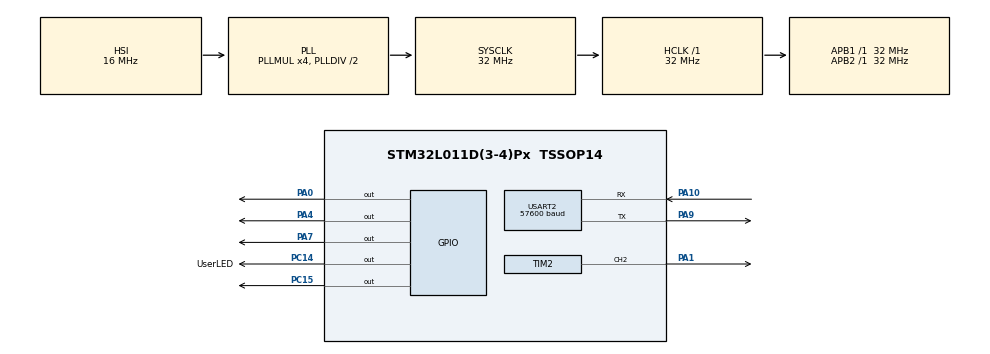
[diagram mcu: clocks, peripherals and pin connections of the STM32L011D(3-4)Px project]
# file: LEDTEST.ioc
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Dma.Request0=TIM2_CH2
Dma.TIM2_CH2.0.Direction=DMA_MEMORY_TO_PERIPH
Dma.TIM2_CH2.0.Instance=DMA1_Channel3
Dma.TIM2_CH2.0.MemDataAlignment=DMA_MDATAALIGN_BYTE
Dma.TIM2_CH2.0.MemInc=DMA_MINC_DISABLE
Dma.TIM2_CH2.0.Mode=DMA_NORMAL
Dma.TIM2_CH2.0.PeriphDataAlignment=DMA_PDATAALIGN_BYTE
Dma.TIM2_CH2.0.PeriphInc=DMA_PINC_DISABLE
Dma.TIM2_CH2.0.Priority=DMA_PRIORITY_HIGH
Mcu.Family=STM32L0
Mcu.Name=STM32L011D(3-4)Px
Mcu.Package=TSSOP14
NVIC.DMA1_Channel2_3_IRQn=true\:0\:0\:false\:false\:true\:true\:true
NVIC.USART2_IRQn=true\:1\:0\:true\:false\:true\:true\:true
PA0-CK_IN.Signal=GPIO_Output
PA1.GPIO_PuPd=GPIO_NOPULL
PA1.GPIO_Speed=GPIO_SPEED_FREQ_VERY_HIGH
PA1.Signal=S_TIM2_CH2
PA10.Mode=Multiprocessor_communication
PA10.Signal=USART2_RX
PA4.Signal=GPIO_Output
PA7.Signal=GPIO_Output
PA9.Mode=Multiprocessor_communication
PA9.Signal=USART2_TX
PC14-OSC32_IN.GPIO_Label=UserLED
PC14-OSC32_IN.GPIO_Speed=GPIO_SPEED_FREQ_MEDIUM
PC14-OSC32_IN.Signal=GPIO_Output
PC15-OSC32_OUT.Signal=GPIO_Output
ProjectManager.HeapSize=0x200
ProjectManager.StackSize=0x400
ProjectManager.TargetToolchain=MDK-ARM V5
RCC.AHBFreq_Value=32000000
RCC.APB1Freq_Value=32000000
RCC.APB1TimFreq_Value=32000000
RCC.APB2Freq_Value=32000000
RCC.APB2TimFreq_Value=32000000
RCC.HCLKFreq_Value=32000000
RCC.HSE_VALUE=8000000
RCC.HSI16_VALUE=16000000
RCC.HSI_VALUE=16000000
RCC.LSE_VALUE=32768
RCC.MSI_VALUE=2097000
RCC.PLLMUL=RCC_PLLMUL_4
RCC.SYSCLKFreq_VALUE=32000000
RCC.SYSCLKSource=RCC_SYSCLKSOURCE_PLLCLK
RCC.VCOOutputFreq_Value=64000000
SH.S_TIM2_CH2.0=TIM2_CH2,PWM Generation2 CH2
TIM2.Channel-PWM\ Generation2\ CH2=TIM_CHANNEL_2
TIM2.OCFastMode_PWM-PWM\ Generation2\ CH2=TIM_OCFAST_ENABLE
TIM2.Period=39
TIM2.Prescaler=0
TIM2.Pulse-PWM\ Generation2\ CH2=0
TIM2.TIM_MasterOutputTrigger=TIM_TRGO_UPDATE
USART2.BaudRate=57600
USART2.VirtualMode-Multiprocessor_communication=VM_ASYNC
USART2.WordLength=UART_WORDLENGTH_8B
board=LEDTEST

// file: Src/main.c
/**
  ******************************************************************************
  * File Name          : main.c
  * Description        : Main program body
  ******************************************************************************
  *
  * COPYRIGHT(c) 2016 STMicroelectronics
  *
  * Redistribution and use in source and binary forms, with or without modification,
  * are permitted provided that the following conditions are met:
  *   1. Redistributions of source code must retain the above copyright notice,
  *      this list of conditions and the following disclaimer.
  *   2. Redistributions in binary form must reproduce the above copyright notice,
  *      this list of conditions and the following disclaimer in the documentation
  *      and/or other materials provided with the distribution.
  *   3. Neither the name of STMicroelectronics nor the names of its contributors
  *      may be used to endorse or promote products derived from this software
  *      without specific prior written permission.
  *
  * THIS SOFTWARE IS PROVIDED BY THE COPYRIGHT HOLDERS AND CONTRIBUTORS "AS IS"
  * AND ANY EXPRESS OR IMPLIED WARRANTIES, INCLUDING, BUT NOT LIMITED TO, THE
  * IMPLIED WARRANTIES OF MERCHANTABILITY AND FITNESS FOR A PARTICULAR PURPOSE ARE
  * DISCLAIMED. IN NO EVENT SHALL THE COPYRIGHT HOLDER OR CONTRIBUTORS BE LIABLE
  * FOR ANY DIRECT, INDIRECT, INCIDENTAL, SPECIAL, EXEMPLARY, OR CONSEQUENTIAL
  * DAMAGES (INCLUDING, BUT NOT LIMITED TO, PROCUREMENT OF SUBSTITUTE GOODS OR
  * SERVICES; LOSS OF USE, DATA, OR PROFITS; OR BUSINESS INTERRUPTION) HOWEVER
  * CAUSED AND ON ANY THEORY OF LIABILITY, WHETHER IN CONTRACT, STRICT LIABILITY,
  * OR TORT (INCLUDING NEGLIGENCE OR OTHERWISE) ARISING IN ANY WAY OUT OF THE USE
  * OF THIS SOFTWARE, EVEN IF ADVISED OF THE POSSIBILITY OF SUCH DAMAGE.
  *
  ******************************************************************************
  */
#include "stm32l0xx_hal.h"

/* USER CODE BEGIN Includes */

char RxData[11]={'0'};
uint8_t MyColor[3]={0};

#define UserLED_Toggle()	 HAL_GPIO_TogglePin(UserLED_GPIO_Port,UserLED_Pin)
#define UserLED_ON()  		 HAL_GPIO_WritePin(UserLED_GPIO_Port,UserLED_Pin,GPIO_PIN_SET)
#define UserLED_OFF() 		 HAL_GPIO_WritePin(UserLED_GPIO_Port,UserLED_Pin,GPIO_PIN_RESET)

/* USER CODE END Includes */

TIM_HandleTypeDef htim2;
DMA_HandleTypeDef hdma_tim2_ch2;

UART_HandleTypeDef huart2;

/* USER CODE BEGIN PV */
/* Private variables ---------------------------------------------------------*/
TIM_OC_InitTypeDef mysConfigOC;
/* USER CODE END PV */

void SystemClock_Config(void);
void Error_Handler(void);
static void MX_GPIO_Init(void);
static void MX_DMA_Init(void);
static void MX_USART2_UART_Init(void);
static void MX_TIM2_Init(void);

void HAL_TIM_MspPostInit(TIM_HandleTypeDef *htim);

/* USER CODE BEGIN PFP */
/* Private function prototypes -----------------------------------------------*/
#ifdef __GNUC__
/* With GCC/RAISONANCE, small printf (option LD Linker->Libraries->Small printf
   set to 'Yes') calls __io_putchar() */
#define PUTCHAR_PROTOTYPE int __io_putchar(int ch)
#else
#define PUTCHAR_PROTOTYPE int fputc(int ch, FILE *f)
#endif /* __GNUC__ */
/**
  * @brief  Retargets the C library printf function to the USART.
  * @param  None
  * @retval None
  */
PUTCHAR_PROTOTYPE
{
  /* Place your implementation of fputc here */
  /* e.g. write a character to the USART2 and Loop until the end of transmission */
  HAL_UART_Transmit(&huart2, (uint8_t *)&ch, 1,100);

  return ch;
}
/* USER CODE END PFP */

/* USER CODE BEGIN 0 */

void Din_1(void)
{
	__HAL_TIM_SET_COMPARE(&htim2, TIM_CHANNEL_2, 26);
}
void Din_0(void)
{
	__HAL_TIM_SET_COMPARE(&htim2, TIM_CHANNEL_2, 13);
}

void Send_8bits(uint8_t dat)
{
		uint8_t i;
		Din_0();
		for(i=0;i<8;i++)
		{
			if(dat & 0x80)//1,for "1",H:0.8us,L:0.45us;
			{
				Din_1();
			}
			else 	//0 ,for "0",H:0.4us,L:	0.85us
			{
			 Din_0();
			}
		   dat=dat<<1;
	 }
}
//G--R--B
//MSB first
void Send_2811_24bits(uint8_t GData,uint8_t RData,uint8_t BData)
 {
	Send_8bits(GData);
	Send_8bits(RData);
	Send_8bits(BData);
 }

 void rst()
{
	 __HAL_TIM_SetCompare(&htim2, TIM_CHANNEL_2, 0);
	 //HAL_TIM_PWM_Start(&htim2, TIM_CHANNEL_2);
	 HAL_Delay (1);
}

uint8_t AscillToNum(char mychar)
{
	uint8_t num=0;
	switch(mychar)
	{
		case '0':num=0;break;
		case '1':num=1;break;
		case '2':num=2;break;
		case '3':num=3;break;
		case '4':num=4;break;
		case '5':num=5;break;
		case '6':num=6;break;
		case '7':num=7;break;
		case '8':num=8;break;
		case '9':num=9;break;
	}
	return num;
}

/* USER CODE END 0 */

int main(void)
{

  /* USER CODE BEGIN 1 */
	uint8_t i=0;
  /* USER CODE END 1 */

  /* MCU Configuration----------------------------------------------------------*/

  /* Reset of all peripherals, Initializes the Flash interface and the Systick. */
  HAL_Init();

  /* Configure the system clock */
  SystemClock_Config();

  /* Initialize all configured peripherals */
  MX_GPIO_Init();
  MX_DMA_Init();
  MX_USART2_UART_Init();
  MX_TIM2_Init();

  /* USER CODE BEGIN 2 */
		//HAL_FLASH_Unlock();
	//printf("\n\r UART OK! \n\r");
	HAL_TIM_PWM_Start(&htim2, TIM_CHANNEL_2);
  /* USER CODE END 2 */

  /* Infinite loop */
  while (1)
  {

  /* USER CODE BEGIN 3 */

//		for(i=0;i<11;i++)
//		{
//		 RxData[i]=0;
//		}
//		for(i=0;i<3;i++)
//		{
//		 MyColor[i]=0;
//		}
		//test code
		    UserLED_Toggle();

			  rst();
				for(i=0;i<36;i++)
				{
						Send_2811_24bits(255,0,0);
				}
				HAL_Delay (500);
				rst();
				for(i=0;i<36;i++)
				{
						Send_2811_24bits(0,255,0);
				}
				HAL_Delay (500);
				rst();
				for(i=0;i<36;i++)
				{
						Send_2811_24bits(0,0,255);
				}
				HAL_Delay (500);
		//test code over

//		if(HAL_UART_Receive(&huart2, RxData, 11, 10000)==HAL_OK)
//		{
//			  //printf("\n\r 接收到的数据:%s \n\r",RxData);
//				if(RxData[0]=='A' && RxData[1]=='A')
//				{
////					printf("\n\r begin explain data! \n\r");
////					for(i=0;i<11;i++)
////					{
////						printf("\n\r RxData[%d]=%d \n\r",i,RxData[i]);
////					}
//				  LED_G_Toggle();
//					MyColor[0]=AscillToNum(RxData[2])*100 + AscillToNum(RxData[3])*10 + AscillToNum(RxData[4]);
//					MyColor[1]=AscillToNum(RxData[5])*100 + AscillToNum(RxData[6])*10 + AscillToNum(RxData[7]);
//					MyColor[2]=AscillToNum(RxData[8])*100 + AscillToNum(RxData[9])*10 + AscillToNum(RxData[10]);
////					printf("\n\r RX GRB=%d %d %d \n\r",MyColor[0],MyColor[1],MyColor[2]);
//		      rst();
//				for(i=0;i<36;i++)
//				{
//						Send_2811_24bits(MyColor[0],MyColor[1],MyColor[2]);
//				}

//			 }
//		}
  }
  /* USER CODE END 3 */

}

/** System Clock Configuration
*/
void SystemClock_Config(void)
{

  RCC_OscInitTypeDef RCC_OscInitStruct;
  RCC_ClkInitTypeDef RCC_ClkInitStruct;
  RCC_PeriphCLKInitTypeDef PeriphClkInit;

  __HAL_RCC_PWR_CLK_ENABLE();

  __HAL_PWR_VOLTAGESCALING_CONFIG(PWR_REGULATOR_VOLTAGE_SCALE1);

  RCC_OscInitStruct.OscillatorType = RCC_OSCILLATORTYPE_HSI;
  RCC_OscInitStruct.HSIState = RCC_HSI_ON;
  RCC_OscInitStruct.HSICalibrationValue = 16;
  RCC_OscInitStruct.PLL.PLLState = RCC_PLL_ON;
  RCC_OscInitStruct.PLL.PLLSource = RCC_PLLSOURCE_HSI;
  RCC_OscInitStruct.PLL.PLLMUL = RCC_PLLMUL_4;
  RCC_OscInitStruct.PLL.PLLDIV = RCC_PLLDIV_2;
  if (HAL_RCC_OscConfig(&RCC_OscInitStruct) != HAL_OK)
  {
    Error_Handler();
  }

  RCC_ClkInitStruct.ClockType = RCC_CLOCKTYPE_HCLK|RCC_CLOCKTYPE_SYSCLK
                              |RCC_CLOCKTYPE_PCLK1|RCC_CLOCKTYPE_PCLK2;
  RCC_ClkInitStruct.SYSCLKSource = RCC_SYSCLKSOURCE_PLLCLK;
  RCC_ClkInitStruct.AHBCLKDivider = RCC_SYSCLK_DIV1;
  RCC_ClkInitStruct.APB1CLKDivider = RCC_HCLK_DIV1;
  RCC_ClkInitStruct.APB2CLKDivider = RCC_HCLK_DIV1;
  if (HAL_RCC_ClockConfig(&RCC_ClkInitStruct, FLASH_LATENCY_1) != HAL_OK)
  {
    Error_Handler();
  }

  PeriphClkInit.PeriphClockSelection = RCC_PERIPHCLK_USART2;
  PeriphClkInit.Usart2ClockSelection = RCC_USART2CLKSOURCE_PCLK1;
  if (HAL_RCCEx_PeriphCLKConfig(&PeriphClkInit) != HAL_OK)
  {
    Error_Handler();
  }

  HAL_SYSTICK_Config(HAL_RCC_GetHCLKFreq()/1000);

  HAL_SYSTICK_CLKSourceConfig(SYSTICK_CLKSOURCE_HCLK);

  /* SysTick_IRQn interrupt configuration */
  HAL_NVIC_SetPriority(SysTick_IRQn, 0, 0);
}

/* TIM2 init function */
static void MX_TIM2_Init(void)
{

  TIM_MasterConfigTypeDef sMasterConfig;
  TIM_OC_InitTypeDef sConfigOC;

  htim2.Instance = TIM2;
  htim2.Init.Prescaler = 0;
  htim2.Init.CounterMode = TIM_COUNTERMODE_UP;
  htim2.Init.Period = 41;
  htim2.Init.ClockDivision = TIM_CLOCKDIVISION_DIV1;
  if (HAL_TIM_PWM_Init(&htim2) != HAL_OK)
  {
    Error_Handler();
  }

  sMasterConfig.MasterOutputTrigger = TIM_TRGO_UPDATE;
  sMasterConfig.MasterSlaveMode = TIM_MASTERSLAVEMODE_DISABLE;
  if (HAL_TIMEx_MasterConfigSynchronization(&htim2, &sMasterConfig) != HAL_OK)
  {
    Error_Handler();
  }

  sConfigOC.OCMode = TIM_OCMODE_PWM1;
  sConfigOC.Pulse = 0;
  sConfigOC.OCPolarity = TIM_OCPOLARITY_HIGH;
  sConfigOC.OCFastMode = TIM_OCFAST_ENABLE;
  if (HAL_TIM_PWM_ConfigChannel(&htim2, &sConfigOC, TIM_CHANNEL_2) != HAL_OK)
  {
    Error_Handler();
  }

  HAL_TIM_MspPostInit(&htim2);

}

/* USART2 init function */
static void MX_USART2_UART_Init(void)
{

  huart2.Instance = USART2;
  huart2.Init.BaudRate = 57600;
  huart2.Init.WordLength = UART_WORDLENGTH_8B;
  huart2.Init.StopBits = UART_STOPBITS_1;
  huart2.Init.Parity = UART_PARITY_NONE;
  huart2.Init.Mode = UART_MODE_TX_RX;
  huart2.Init.HwFlowCtl = UART_HWCONTROL_NONE;
  huart2.Init.OverSampling = UART_OVERSAMPLING_16;
  huart2.Init.OneBitSampling = UART_ONE_BIT_SAMPLE_DISABLE;
  huart2.AdvancedInit.AdvFeatureInit = UART_ADVFEATURE_NO_INIT;
  if (HAL_MultiProcessor_Init(&huart2, 0, UART_WAKEUPMETHOD_IDLELINE) != HAL_OK)
  {
    Error_Handler();
  }

}

static void MX_DMA_Init(void)
{
  /* DMA controller clock enable */
  __HAL_RCC_DMA1_CLK_ENABLE();

  /* DMA interrupt init */
  /* DMA1_Channel2_3_IRQn interrupt configuration */
  HAL_NVIC_SetPriority(DMA1_Channel2_3_IRQn, 0, 0);
  HAL_NVIC_EnableIRQ(DMA1_Channel2_3_IRQn);

}

/** Configure pins as
        * Analog
        * Input
        * Output
        * EVENT_OUT
        * EXTI
*/
static void MX_GPIO_Init(void)
{

  GPIO_InitTypeDef GPIO_InitStruct;

  /* GPIO Ports Clock Enable */
  __HAL_RCC_GPIOC_CLK_ENABLE();
  __HAL_RCC_GPIOA_CLK_ENABLE();

  /*Configure GPIO pin Output Level */
  HAL_GPIO_WritePin(GPIOC, UserLED_Pin|GPIO_PIN_15, GPIO_PIN_RESET);

  /*Configure GPIO pin Output Level */
  HAL_GPIO_WritePin(GPIOA, GPIO_PIN_0|GPIO_PIN_4|GPIO_PIN_7, GPIO_PIN_RESET);

  /*Configure GPIO pin : UserLED_Pin */
  GPIO_InitStruct.Pin = UserLED_Pin;
  GPIO_InitStruct.Mode = GPIO_MODE_OUTPUT_PP;
  GPIO_InitStruct.Pull = GPIO_NOPULL;
  GPIO_InitStruct.Speed = GPIO_SPEED_FREQ_MEDIUM;
  HAL_GPIO_Init(UserLED_GPIO_Port, &GPIO_InitStruct);

  /*Configure GPIO pin : PC15 */
  GPIO_InitStruct.Pin = GPIO_PIN_15;
  GPIO_InitStruct.Mode = GPIO_MODE_OUTPUT_PP;
  GPIO_InitStruct.Pull = GPIO_NOPULL;
  GPIO_InitStruct.Speed = GPIO_SPEED_FREQ_LOW;
  HAL_GPIO_Init(GPIOC, &GPIO_InitStruct);

  /*Configure GPIO pins : PA0 PA4 PA7 */
  GPIO_InitStruct.Pin = GPIO_PIN_0|GPIO_PIN_4|GPIO_PIN_7;
  GPIO_InitStruct.Mode = GPIO_MODE_OUTPUT_PP;
  GPIO_InitStruct.Pull = GPIO_NOPULL;
  GPIO_InitStruct.Speed = GPIO_SPEED_FREQ_LOW;
  HAL_GPIO_Init(GPIOA, &GPIO_InitStruct);

}

void Error_Handler(void)
{
  /* USER CODE BEGIN Error_Handler */
  /* User can add his own implementation to report the HAL error return state */
  while(1)
  {
		UserLED_Toggle();
		HAL_Delay (50);
  }
  /* USER CODE END Error_Handler */
}

/************************ (C) COPYRIGHT STMicroelectronics *****END OF FILE****/
